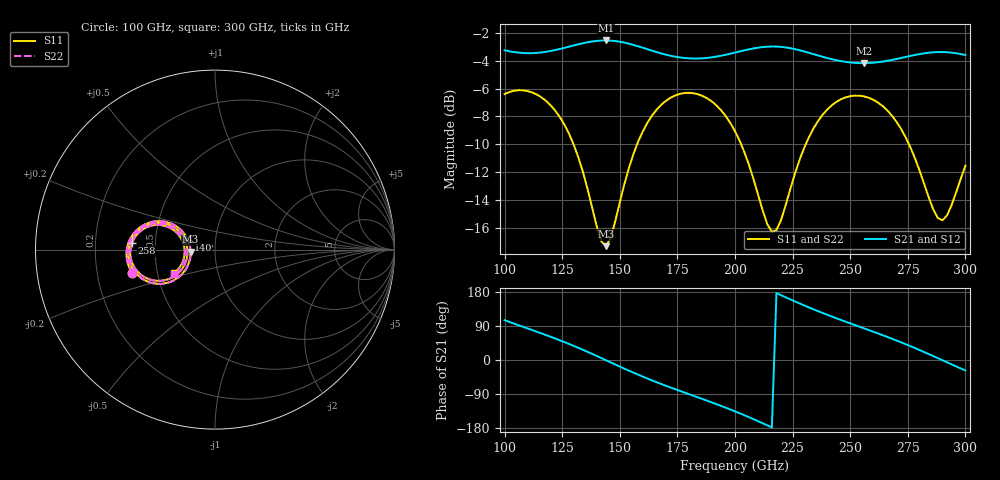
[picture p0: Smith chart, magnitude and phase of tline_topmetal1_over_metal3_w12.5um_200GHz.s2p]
#  GHZ S DB R 50
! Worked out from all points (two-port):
!   101 points, 100 GHz to 300 GHz, reference 50 ohm
!   highest |S21| = -2.56 dB at 144 GHz (marker M1); lowest = -4.2 dB at 256 GHz (marker M2)
!   |S21| within 3 dB of the highest: start of sweep to end of sweep
!   lowest |S11| = -17.3 dB at 144 GHz (marker M3), VSWR 1.32, Z = 38 - j0.927 ohm
!   |S11| at or under -10 dB: 129.9 GHz to 157.5 GHz (27.56 GHz wide, 19.2 % of centre); 202.7 GHz to 230.7 GHz (28 GHz wide, 12.9 % of centre); 275.5 GHz to end of sweep
!   |S22| runs from -17.4 to -6.1 dB; largest |S21 - S12| = 1.1e-13
!   S11 on the Smith chart (normalised r, x): 100 GHz: 0.36, -0.12; 140 GHz: 0.73, +0.08; 258 GHz: 0.37, +0.03; 300 GHz: 0.61, -0.17
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100  -6.40 -164.1  -3.26 105.1  -3.26 105.1  -6.40 -164.1
118  -6.89 166.6  -3.37 65.7  -3.37 65.7  -6.89 166.5
126  -8.60 155.0  -3.09 47.1  -3.09 47.1  -8.61 154.9
134  -11.98 149.0  -2.76 26.8  -2.76 26.8  -12.00 148.8
140  -15.87 160.2  -2.59 10.6  -2.59 10.6  -15.93 160.0
144  -17.28 -175.0  -2.56 -0.6  -2.56 -0.6  -17.37 -174.9
156  -10.65 -143.6  -2.89 -33.6  -2.89 -33.6  -10.66 -143.3
168  -7.16 -158.5  -3.49 -63.3  -3.49 -63.3  -7.16 -158.3
184  -6.42 176.9  -3.85 -98.8  -3.85 -98.8  -6.42 177.1
200  -9.05 155.0  -3.43 -135.6  -3.43 -135.6  -9.05 155.2
208  -12.46 152.3  -3.13 -156.1  -3.13 -156.1  -12.45 152.5
216  -16.25 178.6  -3.00 -177.9  -3.00 -177.9  -16.23 178.7
224  -13.19 -148.9  -3.12 160.0  -3.12 160.0  -13.19 -148.9
234  -8.87 -151.0  -3.54 133.9  -3.54 133.9  -8.87 -150.9
244  -6.96 -164.2  -3.98 110.2  -3.98 110.2  -6.96 -164.1
256  -6.56 178.3  -4.19 83.5  -4.19 83.5  -6.57 178.4
258  -6.66 175.5  -4.18 79.1  -4.18 79.1  -6.66 175.5
268  -7.92 162.0  -3.96 56.4  -3.96 56.4  -7.93 162.0
278  -10.94 154.2  -3.61 31.7  -3.61 31.7  -10.98 154.1
288  -15.25 174.3  -3.39 5.0  -3.39 5.0  -15.36 174.4
292  -15.08 -167.0  -3.41 -6.0  -3.41 -6.0  -15.19 -166.5
300  -11.52 -150.2  -3.60 -27.6  -3.60 -27.6  -11.56 -149.5
